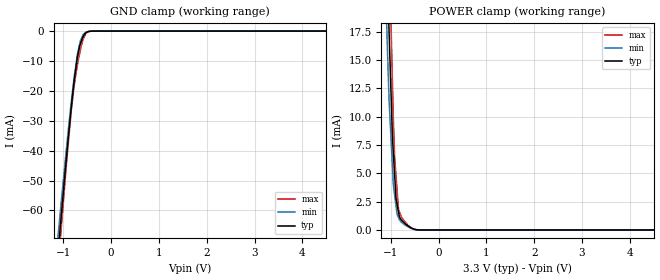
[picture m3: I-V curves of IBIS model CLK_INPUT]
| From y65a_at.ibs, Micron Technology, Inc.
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|   MODEL CLK_INPUT
[Model]   CLK_INPUT
Model_type   Input
Vinl = 800.000mV
Vinh = 2.000V
|   typ   min   max
C_comp   2.331pF   2.231pF   2.431pF
[Voltage Range]   3.300V   3.000V   3.600V
| Junction Temperature (Case temp is 35C typ, 105C min, -40C max)
[Temperature Range]   50.0   110.0   -40.0
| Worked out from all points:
|   GND clamp passes 1 mA (typ) near -0.55 V on its own axis
|   POWER clamp passes 1 mA (typ) near -0.80 V on its own axis
[GND Clamp]
|   Voltage   I(typ)   I(min)   I(max)
-3.3V     -516.5mA   -472.4mA   -568.3mA
-1.14V    -79.35mA   -73.48mA   -85.45mA
-1.095V   -70.97mA   -65.8mA    -76.06mA
-1.065V   -65.44mA   -60.69mA   -70.09mA
-1.04V    -60.93mA   -56.42mA   -65.12mA
-920mV    -39.64mA   -36.83mA   -41.54mA
-840mV    -26.39mA   -24.52mA   -27.49mA
-775mV    -16.68mA   -15.54mA   -18.37mA
-710mV    -9.039mA   -8.217mA   -11.8mA
-645mV    -4.342mA   -3.258mA   -6.341mA
-525mV    -567.6uA   -338.1uA   -684.1uA
6.6V      0A         0A         0A
[POWER Clamp]
|   Voltage   I(typ)   I(min)   I(max)
-3.3V     453.3mA    407.9mA    511.4mA
-1.09V    25.04mA    18.32mA    34.43mA
-1.07V    21.86mA    15.68mA    30.94mA
-1.04V    17.78mA    11.73mA    25.71mA
-1.035V   17.12mA    11.24mA    24.83mA
-970mV    8.493mA    5.773mA    13.49mA
-950mV    6.922mA    4.092mA    10.01mA
-920mV    4.767mA    3.025mA    6.363mA
-890mV    2.697mA    2.029mA    4.646mA
-835mV    1.45mA     1.029mA    1.747mA
-585mV    207.2uA    154.1uA    223.3uA
6.6V      0A         0A         0A
